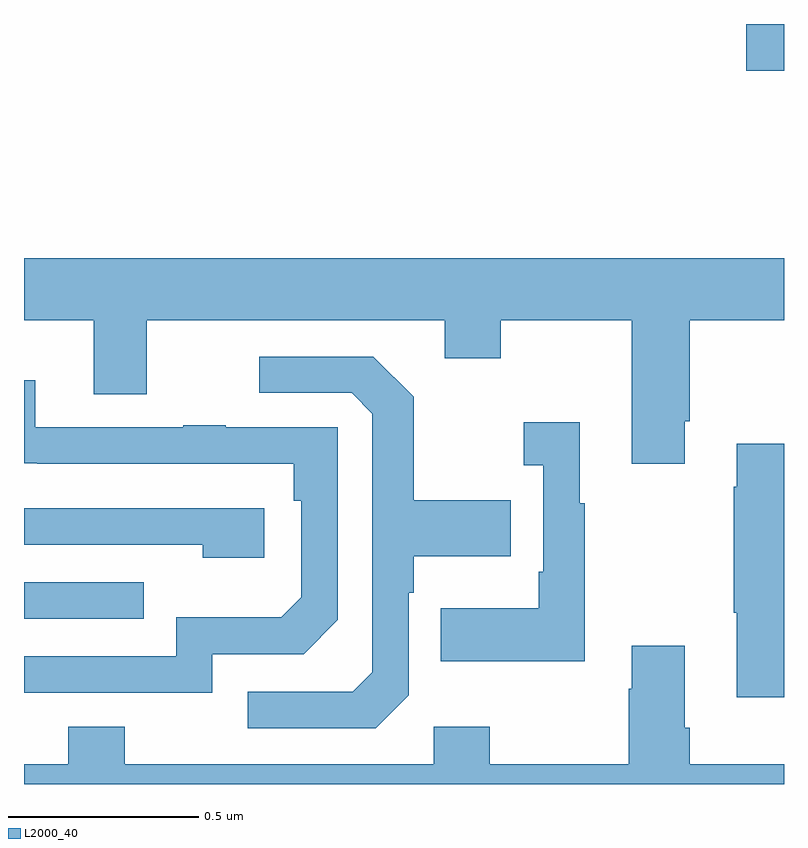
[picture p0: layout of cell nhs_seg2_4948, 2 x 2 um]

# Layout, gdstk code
import gdstk
lib = gdstk.Library(unit=1e-6, precision=1e-09)
def R(c, l, rs):  # rectangles x0, y0, x1, y1
    for r in rs: c.add(gdstk.rectangle(r[:2], r[2:], *l))
def P(c, l, *ps):  # polygons
    for p in ps: c.add(gdstk.Polygon(p, *l))
L2000_40 = (2000, 40)

nhs_seg2_4948 = lib.new_cell('nhs_seg2_4948')
R(nhs_seg2_4948, L2000_40, [(173,596.235,173.315,596.331), (174.9,597.677,175,597.8)])
P(nhs_seg2_4948, L2000_40, [(174.739,596.755),(174.752,596.755),(174.752,597.02),(175,597.02),(175,597.184),(173,597.184),(173,597.02),(173.183,597.02),(173.183,596.826),(173.323,596.826),(173.323,597.02),(174.107,597.02),(174.107,596.921),(174.255,596.921),(174.255,597.02),(174.599,597.02),(174.599,596.643),(174.739,596.643)],
  [(174.012,596.034),(174.012,596.303),(174.025,596.303),(174.025,596.399),(174.281,596.399),(174.281,596.547),(174.025,596.547),(174.025,596.819),(173.919,596.925),(173.619,596.925),(173.619,596.829),(173.862,596.829),(173.916,596.775),(173.916,596.094),(173.865,596.043),(173.589,596.043),(173.589,595.947),(173.925,595.947)],
  [(173.496,596.142),(173.736,596.142),(173.826,596.232),(173.826,596.739),(173.531,596.739),(173.531,596.744),(173.419,596.744),(173.419,596.739),(173.029,596.739),(173.029,596.863),(173,596.863),(173,596.644),(173.035,596.644),(173.035,596.643),(173.71,596.643),(173.71,596.546),(173.73,596.546),(173.73,596.292),(173.677,596.239),(173.4,596.239),(173.4,596.136),(173,596.136),(173,596.04),(173.496,596.04)],
  [(174.475,596.539),(174.463,596.539),(174.463,596.752),(174.315,596.752),(174.315,596.639),(174.366,596.639),(174.366,596.359),(174.354,596.359),(174.354,596.263),(174.097,596.263),(174.097,596.123),(174.475,596.123)],
  [(175,596.695),(174.875,596.695),(174.875,596.582),(174.868,596.582),(174.868,596.251),(174.875,596.251),(174.875,596.028),(175,596.028)],
  [(173.632,596.526),(173,596.526),(173,596.43),(173.471,596.43),(173.471,596.396),(173.632,596.396)],
  [(175,595.852),(174.752,595.852),(174.752,595.948),(174.739,595.948),(174.739,596.164),(174.599,596.164),(174.599,596.051),(174.592,596.051),(174.592,595.852),(174.225,595.852),(174.225,595.951),(174.078,595.951),(174.078,595.852),(173.265,595.852),(173.265,595.951),(173.117,595.951),(173.117,595.852),(173,595.852),(173,595.8),(175,595.8)])

lib.write_gds('nhs_seg2_4948.gds')
